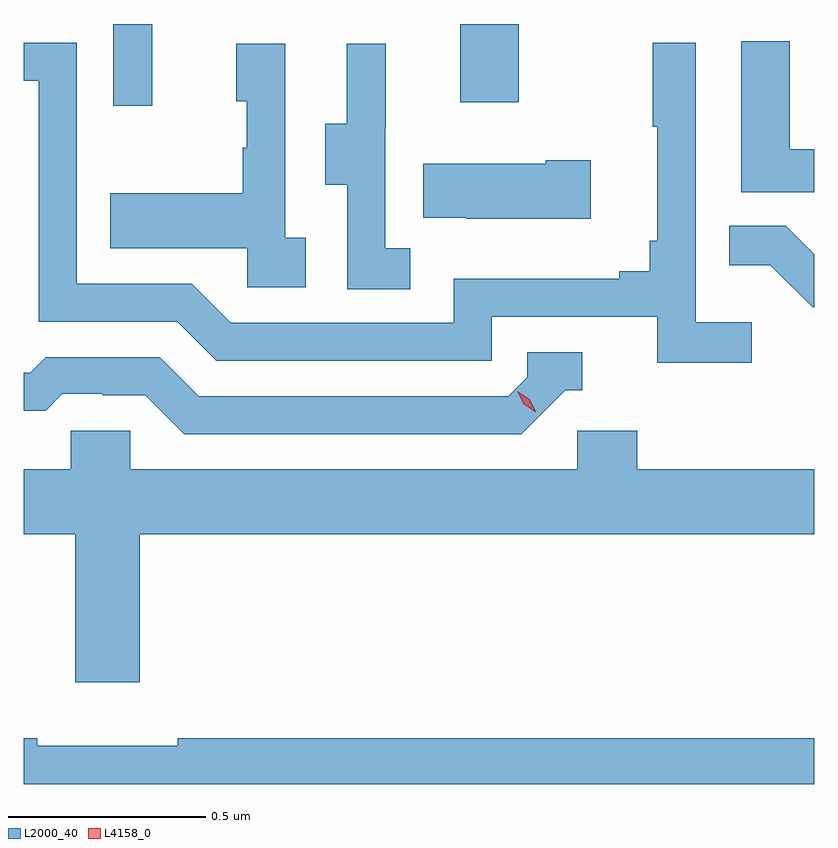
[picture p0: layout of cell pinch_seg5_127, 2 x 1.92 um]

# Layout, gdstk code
import gdstk
lib = gdstk.Library(unit=1e-6, precision=1e-09)
def R(c, l, rs):  # rectangles x0, y0, x1, y1
    for r in rs: c.add(gdstk.rectangle(r[:2], r[2:], *l))
def P(c, l, *ps):  # polygons
    for p in ps: c.add(gdstk.Polygon(p, *l))
L2000_40 = (2000, 40)
L4158_0 = (4158, 0)

pinch_seg5_127 = lib.new_cell('pinch_seg5_127')
R(pinch_seg5_127, L2000_40, [(1064.205,880.488,1064.303,880.695), (1065.083,880.497,1065.231,880.695)])
P(pinch_seg5_127, L2000_40, [(1065.978,880.378),(1065.916,880.378),(1065.916,880.651),(1065.794,880.651),(1065.794,880.269),(1065.978,880.269)],
  [(1065.82,879.94),(1065.678,879.94),(1065.678,880.648),(1065.57,880.648),(1065.57,880.435),(1065.581,880.435),(1065.581,880.147),(1065.562,880.147),(1065.562,880.07),(1065.485,880.07),(1065.485,880.051),(1065.066,880.051),(1065.066,879.939),(1064.502,879.939),(1064.403,880.038),(1064.112,880.038),(1064.112,880.647),(1063.978,880.647),(1063.978,880.551),(1064.016,880.551),(1064.016,879.942),(1064.366,879.942),(1064.465,879.843),(1065.162,879.843),(1065.162,879.954),(1065.581,879.954),(1065.581,879.838),(1065.82,879.838)],
  [(1064.956,880.127),(1064.892,880.127),(1064.892,880.431),(1064.894,880.431),(1064.894,880.645),(1064.795,880.645),(1064.795,880.443),(1064.741,880.443),(1064.741,880.288),(1064.796,880.288),(1064.796,880.024),(1064.956,880.024)],
  [(1064.692,880.154),(1064.64,880.154),(1064.64,880.645),(1064.516,880.645),(1064.516,880.5),(1064.542,880.5),(1064.542,880.382),(1064.532,880.382),(1064.532,880.267),(1064.197,880.267),(1064.197,880.127),(1064.544,880.127),(1064.544,880.029),(1064.692,880.029)],
  [(1065.412,880.35),(1065.299,880.35),(1065.299,880.342),(1064.989,880.342),(1064.989,880.205),(1065.097,880.205),(1065.097,880.202),(1065.412,880.202)],
  [(1065.978,880.112),(1065.906,880.184),(1065.763,880.184),(1065.763,880.085),(1065.867,880.085),(1065.974,879.978),(1065.978,879.978)],
  [(1065.348,879.768),(1065.391,879.768),(1065.391,879.864),(1065.252,879.864),(1065.252,879.801),(1065.204,879.753),(1064.421,879.753),(1064.322,879.852),(1064.033,879.852),(1063.994,879.813),(1063.978,879.813),(1063.978,879.717),(1064.033,879.717),(1064.075,879.759),(1064.178,879.759),(1064.178,879.756),(1064.285,879.756),(1064.384,879.657),(1065.237,879.657)],
  [(1064.272,879.404),(1065.978,879.404),(1065.978,879.568),(1065.53,879.568),(1065.53,879.666),(1065.378,879.666),(1065.378,879.568),(1064.247,879.568),(1064.247,879.666),(1064.097,879.666),(1064.097,879.568),(1063.978,879.568),(1063.978,879.404),(1064.108,879.404),(1064.108,879.03),(1064.272,879.03)],
  [(1065.978,878.888),(1064.368,878.888),(1064.368,878.869),(1064.012,878.869),(1064.012,878.888),(1063.978,878.888),(1063.978,878.772),(1065.978,878.772)])
P(pinch_seg5_127, L4158_0, [(1065.274,879.713),(1065.243,879.733),(1065.227,879.766),(1065.227,879.766),(1065.227,879.766),(1065.258,879.746),(1065.274,879.714),(1065.274,879.713)])

lib.write_gds('pinch_seg5_127.gds')
